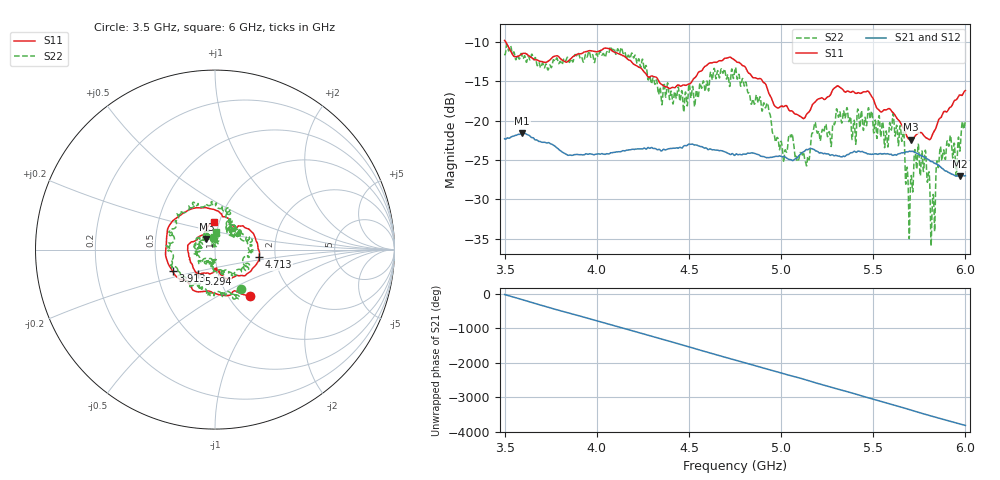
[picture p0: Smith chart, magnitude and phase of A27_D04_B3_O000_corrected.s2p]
! Created with skrf 1.9.0 (http://scikit-rf.org).
# Hz S RI R 50.0
!freq ReS11 ImS11 ReS21 ImS21 ReS12 ImS12 ReS22 ImS22
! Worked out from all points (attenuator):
!   1601 points, 3.5 GHz to 6 GHz, reference 50 ohm
!   highest |S21| = -21.61 dB at 3.595 GHz (marker M1); lowest = -27.1 dB at 5.972 GHz (marker M2)
!   lowest |S11| = -22.4 dB at 5.705 GHz (marker M3), VSWR 1.16, Z = 45.1 + j5.31 ohm
!   |S11| at or under -10 dB: 3.505 GHz to end of sweep
!   |S22| runs from -35.9 to -10.3 dB; largest |S21 - S12| = 0.0011
!   S11 on the Smith chart (normalised r, x): 3.5 GHz: 1.25, -0.72; 3.913 GHz: 0.60, -0.16; 4.713 GHz: 1.65, -0.14; 5.294 GHz: 0.80, -0.22; 6 GHz: 0.95, +0.30
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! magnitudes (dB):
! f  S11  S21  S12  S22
! 3.5 GHz  -9.8  -22.3  -22.3  -11.6
! 3.595 GHz  -11.5  -21.6  -21.6  -11.9
! 3.913 GHz  -11.5  -24.3  -24.3  -12.1
! 3.917 GHz  -11.5  -24.3  -24.3  -11.9
! 4.141 GHz  -11.8  -23.8  -23.8  -11.3
! 4.334 GHz  -14.9  -23.7  -23.6  -16.7
! 4.713 GHz  -12.0  -24.1  -24.1  -14.2
! 4.75 GHz  -12.4  -24.4  -24.3  -13.4
! 5.02 GHz  -18.2  -24.6  -24.6  -23.8
! 5.053 GHz  -18.8  -25.0  -24.9  -22.1
! 5.141 GHz  -19.1  -23.7  -23.6  -25.4
! 5.167 GHz  -18.1  -23.6  -23.5  -21.6
! 5.294 GHz  -15.8  -24.4  -24.4  -20.1
! 5.584 GHz  -18.5  -24.2  -24.2  -21.7
! 5.656 GHz  -20.6  -24.1  -24.0  -22.6
! 5.705 GHz  -22.4  -23.9  -23.8  -27.1
! 5.734 GHz  -21.8  -24.1  -24.0  -25.9
! 5.775 GHz  -21.9  -24.6  -24.5  -26.0
! 5.823 GHz  -21.7  -25.2  -25.2  -29.6
! 5.855 GHz  -19.9  -25.6  -25.6  -25.8
! 5.972 GHz  -16.8  -27.1  -27.0  -23.5
! 6 GHz  -16.2  -27.0  -26.9  -20.0
